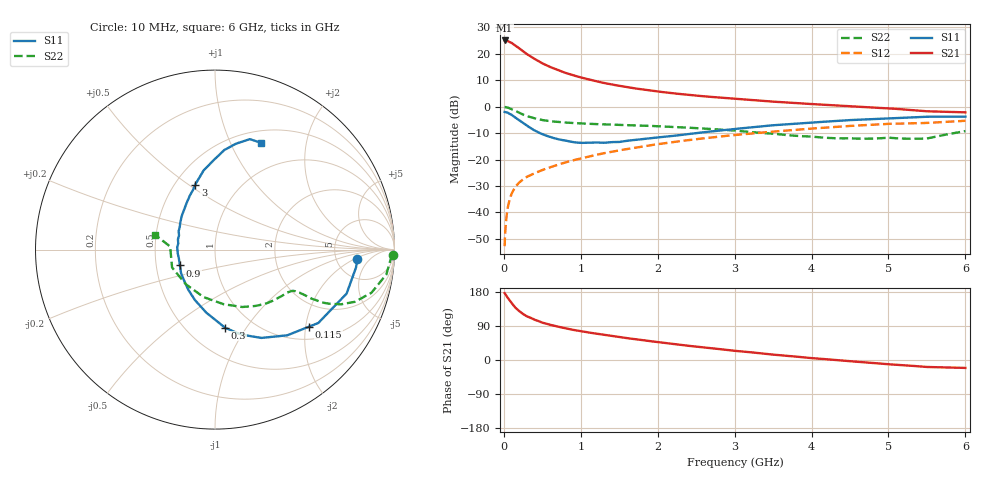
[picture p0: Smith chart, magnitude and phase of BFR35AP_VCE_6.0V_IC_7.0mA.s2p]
! Infineon Technologies  Discrete & RF Semiconductors
! BFR35AP
! VCE =  6.0 V,  IC =  7.0 mA
! Common Emitter S-Parameters:  Nov 2015
# GHz  S  MA  R  50
!  f  S11  S21  S12  S22
! GHz  MAG  ANG  MAG  ANG  MAG  ANG  MAG  ANG
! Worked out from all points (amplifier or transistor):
!   210 points, 10 MHz to 6 GHz, reference 50 ohm
!   highest |S21| = 25.1 dB at 10 MHz (marker M1)
!   |S21| within 3 dB of that: start of sweep to 201.4 MHz
!   unconditionally stable (mu >= 1): 730.9 MHz to 3.073 GHz
!   at 185 MHz: K = 0.45, MSG = 25.8 dB, |S12| = -29.1 dB
!   at 1.52 GHz: K = 1.11, MAG = 10.1 dB, |S12| = -16.4 dB
!   at 6 GHz: K = 0.92, MSG = 1.6 dB, |S12| = -5.3 dB
!   S11 on the Smith chart (normalised r, x): 10 MHz: 8.16, -2.22; 115 MHz: 1.31, -2.09; 300 MHz: 0.75, -0.80; 900 MHz: 0.66, -0.12; 3 GHz: 0.63, +0.53; 6 GHz: 0.64, +1.31
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0.01  0.7952 -3.6  17.91 176.6  0.0023 87.5  0.9911 -1.7
0.025  0.7866 -9.1  17.57 171.8  0.0059 82.3  0.9763 -4.2
0.05  0.7731 -18.5  17.49 164.3  0.0122 81.6  0.9647 -8.3
0.1  0.7059 -35.4  16.16 150.5  0.0224 73.8  0.9044 -15.4
0.115  0.6771 -39.4  15.54 147.1  0.0248 71.4  0.8824 -16.8
0.15  0.6244 -49.9  14.34 138.0  0.0305 67.3  0.8333 -20.4
0.2  0.5558 -62.3  12.72 128.9  0.0368 63.7  0.7644 -23.5
0.26  0.4819 -74.9  10.9 120.1  0.0432 61.1  0.6984 -25.5
0.3  0.4384 -82.7  9.878 115.2  0.0471 60.8  0.6642 -26.3
0.4  0.3549 -97.8  8.011 106.2  0.055 60.1  0.601 -26.9
0.5  0.3028 -111.6  6.62 98.6  0.0634 60.8  0.5572 -26.9
0.6  0.2686 -123.7  5.655 93.0  0.0712 61.1  0.5327 -27.0
0.7  0.2437 -135.2  4.94 88.1  0.0797 61.6  0.5157 -27.2
0.9  0.2141 -155.7  3.924 79.5  0.0966 62.1  0.4903 -27.9
1.02  0.207 -166.9  3.518 75.5  0.1067 62.5  0.4811 -28.9
1.4  0.2144 164.5  2.633 63.5  0.1402 61.5  0.4596 -33.0
2.02  0.2642 134.4  1.925 46.8  0.1974 57.8  0.426 -42.6
3  0.379 106.9  1.41 24.3  0.291 48.7  0.354 -64.6
3.1  0.3915 104.9  1.374 22.5  0.3001 47.4  0.3428 -67.5
4.1  0.5128 89.1  1.101 3.5  0.3942 35.7  0.2639 -108.3
5.1  0.6102 77.4  0.91 -12.5  0.4767 21.7  0.2532 -162.4
6  0.6475 66.9  0.782 -20.9  0.5414 11.3  0.3458 166.0
